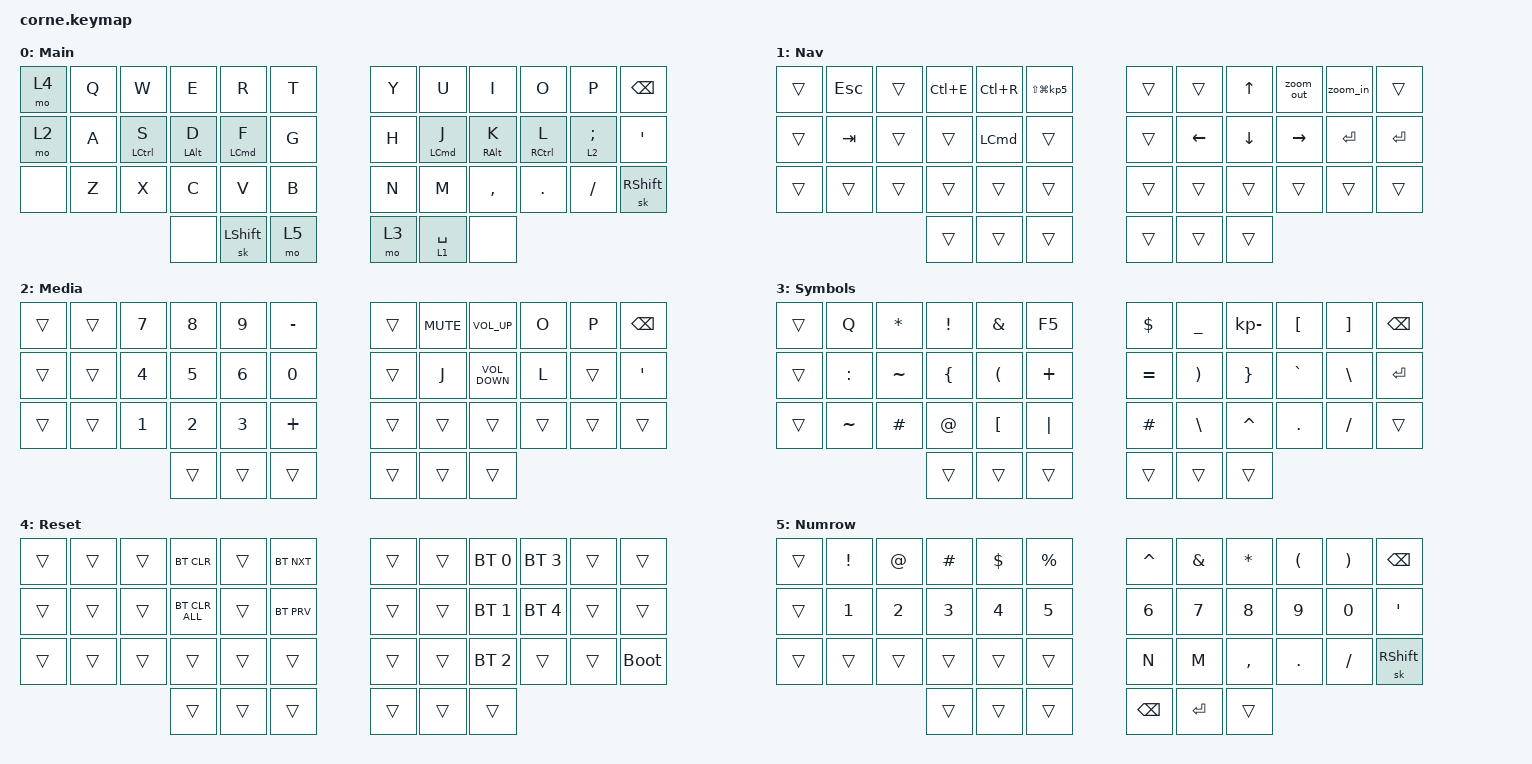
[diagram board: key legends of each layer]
#include <behaviors.dtsi>
#include <dt-bindings/zmk/bt.h>
#include <dt-bindings/zmk/keys.h>

/ {
    behaviors {
        hm: homerow_mods {
            compatible = "zmk,behavior-hold-tap";
            label = "HOMEROW_MODS";
            #binding-cells = <2>;
            tapping-term-ms = <200>;
            quick_tap_ms = <0>;
            flavor = "tap-preferred";
            bindings = <&kp>, <&kp>;

            quick-tap-ms = <180>;
            global-quick-tap;
        };

        para: para {
            compatible = "zmk,behavior-tap-dance";
            label = "PARA";
            #binding-cells = <0>;
            bindings = <&kp LEFT_PARENTHESIS>, <&kp RIGHT_PARENTHESIS>;
        };

        caps: caps {
            compatible = "zmk,behavior-caps-word";
            label = "CAPS";
            #binding-cells = <0>;
            continue-list = <MINUS BACKSPACE>;
        };

        paraless: paraless {
            compatible = "zmk,behavior-mod-morph";
            label = "PARALESS";
            bindings = <&kp LEFT_PARENTHESIS>, <&kp LESS_THAN>;

            #binding-cells = <0>;
            mods = <(MOD_LSFT)>;
        };

        paragreat: paragreat {
            compatible = "zmk,behavior-mod-morph";
            label = "PARAGREAT";
            bindings = <&kp RIGHT_PARENTHESIS>, <&kp GREATER_THAN>;

            #binding-cells = <0>;
            mods = <(MOD_LSFT)>;
        };
    };

    macros {
        zoom_in: zoom_in {
            compatible = "zmk,behavior-macro";
            #binding-cells = <0>;
            bindings = <&none &kp RIGHT_COMMAND &kp PLUS>;
            label = "ZOOM_IN";
        };

        zoom_out: zoom_out {
            compatible = "zmk,behavior-macro";
            #binding-cells = <0>;
            bindings = <&none &kp RIGHT_COMMAND &kp MINUS>;
            label = "ZOOM_OUT";
        };
    };

    combos {
        compatible = "zmk,combos";

        escape {
            bindings = <&kp ESCAPE>;
            key-positions = <13 29>;
        };

        delete {
            bindings = <&kp DELETE>;
            key-positions = <15 21>;
        };

        perc {
            bindings = <&kp PERCENT>;
            key-positions = <5 17>;
        };

        equal {
            bindings = <&kp EQUAL>;
            key-positions = <28 16>;
        };

        dollar {
            bindings = <&kp DOLLAR>;
            key-positions = <4 16>;
        };

        pound {
            bindings = <&kp POUND>;
            key-positions = <3 15>;
        };

        at {
            bindings = <&kp AT>;
            key-positions = <2 14>;
        };

        backslash {
            bindings = <&kp BACKSLASH>;
            key-positions = <26 14>;
        };

        copy {
            bindings = <&kp K_COPY>;
            key-positions = <28 27>;
        };

        paste {
            bindings = <&kp K_PASTE>;
            key-positions = <26 27>;
        };

        star {
            bindings = <&kp STAR>;
            key-positions = <8 20>;
        };

        slash {
            bindings = <&kp SLASH>;
            key-positions = <32 20>;
        };

        plus {
            bindings = <&kp PLUS>;
            key-positions = <7 19>;
        };

        minus {
            bindings = <&kp KP_MINUS>;
            key-positions = <31 19>;
        };

        underscore {
            bindings = <&kp UNDER>;
            key-positions = <30 18>;
        };

        leftbrack {
            bindings = <&kp LEFT_BRACKET>;
            key-positions = <31 32>;
        };

        rightbrack {
            bindings = <&kp RIGHT_BRACKET>;
            key-positions = <33 32>;
        };

        para-less {
            bindings = <&paraless>;
            key-positions = <20 19>;
        };

        para-great {
            bindings = <&paragreat>;
            key-positions = <20 21>;
        };
    };

    //

    keymap {
        compatible = "zmk,keymap";

        main {
                display-name = "Main";
            // -----------------------------------------------------------------------------------------
            // |  Q  |  W  |  E  |  R  |  T  |   |  Y  |  U   |  I  |  O  |  P  |
            // |  A  |  S  |  D  |  F  |  G  |   |  H  |  J   |  K  |  L  |  ;  |
            // |  Z  |  X  |  C  |  V  |  B  |   |  N  |  M   |  ,  |  .  |  /  |
            // | GUI | CTRL | SHFT | LWR | SPC |   | ENT | RSE  | BKSP | ALT | ESC |

            bindings = <
&mo 4  &kp Q  &kp W        &kp E           &kp R               &kp T    &kp Y  &kp U               &kp I            &kp O        &kp P       &kp BACKSPACE
&mo 2  &kp A  &hm LCTRL S  &hm LEFT_ALT D  &hm LEFT_COMMAND F  &kp G    &kp H  &hm LEFT_COMMAND J  &hm RIGHT_ALT K  &hm RCTRL L  &lt 2 SEMI  &kp SQT
&none  &kp Z  &kp X        &kp C           &kp V               &kp B    &kp N  &kp M               &kp COMMA        &kp DOT      &kp FSLH    &sk RIGHT_SHIFT
                           &none           &sk LEFT_SHIFT      &mo 5    &mo 3  &lt 1 SPACE         &none
            >;
        };

        nav {
                display-name = "Nav";
            // -----------------------------------------------------------------------------------------
            // |  TAB |  1  |  2  |  3  |  4  |  5  |   |  6  |  7  |  8  |  9  |  0  | BKSP |
            // | BTCLR| BT1 | BT2 | BT3 | BT4 | BT5 |   | LFT | DWN |  UP | RGT |     |      |
            // | SHFT |     |     |     |     |     |   |     |     |     |     |     |      |
            // | GUI | CTRL | SHFT | LWR | SPC |   | ENT | RSE  | BKSP | ALT | ESC |

            bindings = <
&trans  &kp ESC  &trans  &kp LC(E)  &kp LC(R)         &kp LS(LG(KP_NUMBER_5))    &trans  &trans          &kp UP_ARROW    &zoom_out        &zoom_in   &trans
&trans  &kp TAB  &trans  &trans     &kp LEFT_COMMAND  &trans                     &trans  &kp LEFT_ARROW  &kp DOWN_ARROW  &kp RIGHT_ARROW  &kp ENTER  &kp RET
&trans  &trans   &trans  &trans     &trans            &trans                     &trans  &trans          &trans          &trans           &trans     &trans
                         &trans     &trans            &trans                     &trans  &trans          &trans
            >;
        };

        media {
                display-name = "Media";
            // -----------------------------------------------------------------------------------------
            // |  TAB |  !  |  @  |  #  |  $  |  %  |   |  ^  |  &  |  *  |  (  |  )  | BKSP |
            // | CTRL |     |     |     |     |     |   |  -  |  =  |  [  |  ]  |  \  |  `   |
            // | SHFT |     |     |     |     |     |   |  _  |  +  |  {  |  }  | "|" |  ~   |
            //                    | GUI |     | SPC |   | ENT |     | ALT |

            bindings = <
&trans  &trans  &kp N7        &kp N8        &kp N9        &kp MINUS    &trans  &kp K_MUTE  &kp C_VOLUME_UP    &kp O   &kp P   &kp BACKSPACE
&trans  &trans  &kp NUMBER_4  &kp N5        &kp NUMBER_6  &kp N0       &trans  &kp J       &kp C_VOLUME_DOWN  &kp L   &trans  &kp APOSTROPHE
&trans  &trans  &kp NUMBER_1  &kp NUMBER_2  &kp NUMBER_3  &kp PLUS     &trans  &trans      &trans             &trans  &trans  &trans
                              &trans        &trans        &trans       &trans  &trans      &trans
            >;
        };

        symbols {
                display-name = "Symbols";
            bindings = <
&trans  &kp Q      &kp ASTERISK  &kp EXCL        &kp AMPERSAND         &kp F5      &kp DOLLAR  &kp UNDER              &kp KP_MINUS     &kp LEFT_BRACKET  &kp RIGHT_BRACKET  &kp BACKSPACE
&trans  &kp COLON  &kp TILDE     &kp LEFT_BRACE  &kp LEFT_PARENTHESIS  &kp PLUS    &kp EQUAL   &kp RIGHT_PARENTHESIS  &kp RIGHT_BRACE  &kp GRAVE         &kp BACKSLASH      &kp ENTER
&trans  &kp TILDE  &kp POUND     &kp AT          &kp LEFT_BRACKET      &kp PIPE    &kp POUND   &kp BACKSLASH          &kp CARET        &kp PERIOD        &kp SLASH          &trans
                                 &trans          &trans                &trans      &trans      &trans                 &trans
            >;
        };

        reset {
                display-name = "Reset";
            bindings = <
&trans  &trans  &trans  &bt BT_CLR      &trans  &bt BT_NXT    &trans  &trans  &bt BT_SEL 0  &bt BT_SEL 3  &trans  &trans
&trans  &trans  &trans  &bt BT_CLR_ALL  &trans  &bt BT_PRV    &trans  &trans  &bt BT_SEL 1  &bt BT_SEL 4  &trans  &trans
&trans  &trans  &trans  &trans          &trans  &trans        &trans  &trans  &bt BT_SEL 2  &trans        &trans  &bootloader
                        &trans          &trans  &trans        &trans  &trans  &trans
            >;
        };

        numrow {
                display-name = "Numrow";
            bindings = <
&trans  &kp EXCL  &kp AT  &kp POUND  &kp DOLLAR  &kp PERCENT    &kp CARET      &kp AMPS   &kp ASTRK  &kp LEFT_PARENTHESIS  &kp RIGHT_PARENTHESIS  &kp BACKSPACE
&trans  &kp N1    &kp N2  &kp N3     &kp N4      &kp N5         &kp N6         &kp N7     &kp N8     &kp N9                &kp N0                 &kp SINGLE_QUOTE
&trans  &trans    &trans  &trans     &trans      &trans         &kp N          &kp M      &kp COMMA  &kp PERIOD            &kp SLASH              &sk RIGHT_SHIFT
                          &trans     &trans      &trans         &kp BACKSPACE  &kp ENTER  &trans
            >;
        };
    };

};
